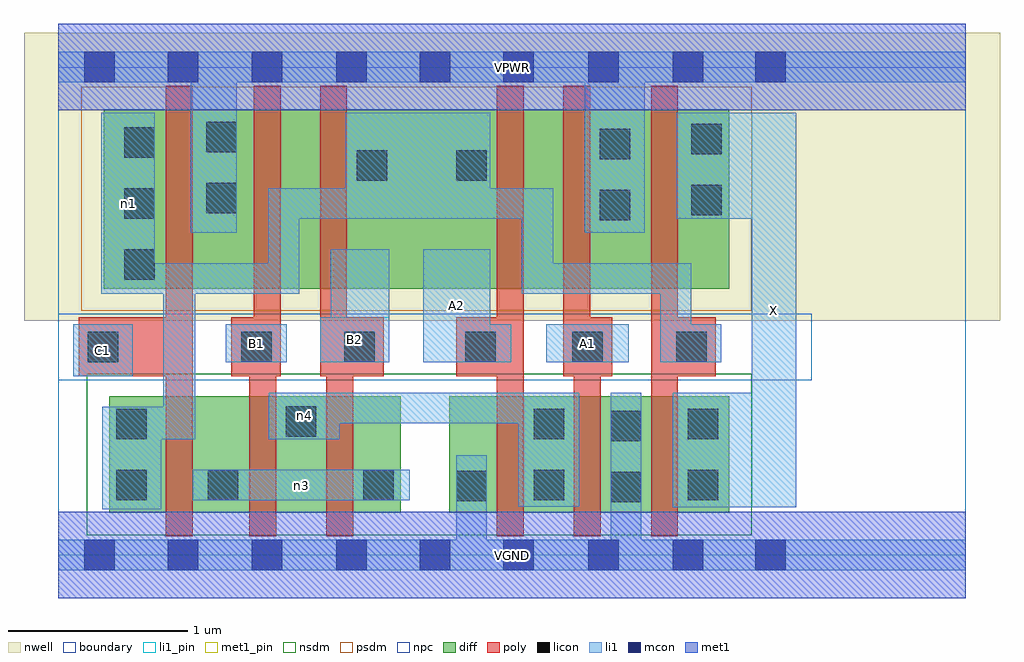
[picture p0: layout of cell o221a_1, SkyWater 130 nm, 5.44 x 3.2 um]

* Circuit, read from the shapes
.subckt o221a_1 A1 A2 B1 B2 C1 VGND VPWR X n1 n3 n4
XM1 n3 C1 n1 VSUBS sky130_fd_pr__nfet_01v8 w=0.65 l=0.15
XM2 n4 B1 n3 VSUBS sky130_fd_pr__nfet_01v8 w=0.65 l=0.15
XM3 n3 B2 n4 VSUBS sky130_fd_pr__nfet_01v8 w=0.65 l=0.15
XM4 n4 A2 VGND VSUBS sky130_fd_pr__nfet_01v8 w=0.65 l=0.15
XM5 VGND A1 n4 VSUBS sky130_fd_pr__nfet_01v8 w=0.65 l=0.15
XM6 X n1 VGND VSUBS sky130_fd_pr__nfet_01v8 w=0.65 l=0.15
XM7 VPWR C1 n1 n2 sky130_fd_pr__pfet_01v8 w=1 l=0.15
XM8 n5 B1 VPWR n2 sky130_fd_pr__pfet_01v8 w=1 l=0.15
XM9 n1 B2 n5 n2 sky130_fd_pr__pfet_01v8 w=1 l=0.15
XM10 n6 A2 n1 n2 sky130_fd_pr__pfet_01v8 w=1 l=0.15
XM11 VPWR A1 n6 n2 sky130_fd_pr__pfet_01v8 w=1 l=0.15
XM12 X n1 VPWR n2 sky130_fd_pr__pfet_01v8 w=1 l=0.15
.ends

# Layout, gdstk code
import gdstk
lib = gdstk.Library(unit=1e-6, precision=1e-09)
def R(c, l, rs):  # rectangles x0, y0, x1, y1
    for r in rs: c.add(gdstk.rectangle(r[:2], r[2:], *l))
def A(c, l, x, y, w, h, nx, ny, dx, dy):  # array of equal rectangles
    R(c, l, [(x+i*dx, y+j*dy, x+i*dx+w, y+j*dy+h) for i in range(nx) for j in range(ny)])
nwell = (64, 20)
diff = (65, 20)
poly = (66, 20)
licon = (66, 44)
li1_pin = (67, 16)
li1 = (67, 20)
mcon = (67, 44)
met1_pin = (68, 16)
met1 = (68, 20)
nsdm = (93, 44)
psdm = (94, 20)
npc = (95, 20)
boundary = (235, 4)

o221a_1 = lib.new_cell('o221a_1')
R(o221a_1, nwell, [(-0.19,1.305,5.25,2.91), (0,1.305,5.06,2.91)])
R(o221a_1, diff, [(0.285,0.235,1.91,0.885), (2.18,0.235,3.74,0.885), (0.255,1.485,3.74,2.485)])
R(o221a_1, poly, [(0.6,0.105,0.75,2.615), (1.065,0.105,1.215,1.325), (1.495,0.105,1.645,1.325), (2.445,0.105,2.595,2.615), (2.875,0.105,3.025,1.325), (3.305,0.105,3.455,2.615), (0.115,0.995,0.75,1.325), (0.965,0.995,1.24,1.325), (1.09,0.995,1.24,2.615), (1.46,0.995,1.61,2.615), (1.46,0.995,1.815,1.325), (2.22,0.995,2.595,1.325), (2.815,0.995,3.09,1.325), (2.815,0.995,2.965,2.615), (3.305,0.995,3.665,1.325)])
A(o221a_1, licon, 0.37, 1.535, 0.17, 0.17, 1, 3, 0, 0.34)
R(o221a_1, licon, [(3.08,0.295,3.25,0.465), (2.22,0.3,2.39,0.47), (0.325,0.305,0.495,0.475), (0.835,0.305,1.005,0.475), (1.7,0.305,1.87,0.475), (2.65,0.305,2.82,0.475), (3.51,0.305,3.68,0.475), (3.08,0.635,3.25,0.805), (0.325,0.645,0.495,0.815), (2.65,0.645,2.82,0.815), (3.51,0.645,3.68,0.815), (1.27,0.66,1.44,0.83), (0.165,1.075,0.335,1.245), (1.02,1.075,1.19,1.245), (1.595,1.075,1.765,1.245), (2.27,1.075,2.44,1.245), (2.865,1.075,3.035,1.245), (3.445,1.075,3.615,1.245), (3.02,1.865,3.19,2.035), (3.53,1.895,3.7,2.065), (0.825,1.905,0.995,2.075), (1.665,2.085,1.835,2.255), (2.22,2.085,2.39,2.255), (3.02,2.205,3.19,2.375), (3.53,2.235,3.7,2.405), (0.825,2.245,0.995,2.415)])
R(o221a_1, li1_pin, [(3.865,0.265,4.115,2.465), (0.085,0.995,0.415,1.285), (0.935,1.075,1.275,1.285), (1.46,1.075,1.845,1.325), (2.035,1.075,2.41,1.705), (2.72,1.075,3.18,1.285)])
R(o221a_1, li1, [(0,-0.085,5.06,0.085), (2.22,-0.085,2.39,0.555), (3.08,-0.085,3.25,0.905), (0.245,0.255,0.575,0.825), (3.425,0.265,4.115,0.905), (3.865,0.265,4.115,2.465), (2.565,0.27,2.905,0.905), (0.75,0.305,1.96,0.475), (0.245,0.645,0.765,0.825), (0.585,0.645,0.765,1.625), (1.175,0.645,1.57,0.905), (1.175,0.735,2.905,0.905), (0.085,0.995,0.415,1.285), (0.935,1.075,1.275,1.285), (1.46,1.075,1.845,1.325), (1.52,1.075,1.845,1.705), (2.035,1.075,2.41,1.705), (2.035,1.075,2.525,1.285), (2.72,1.075,3.18,1.285), (3.355,1.075,3.695,1.285), (3.355,1.075,3.53,1.625), (0.24,1.455,0.54,2.465), (0.24,1.455,1.345,1.625), (1.17,1.455,1.345,2.045), (2.585,1.455,2.76,2.045), (2.585,1.455,3.53,1.625), (0.74,1.795,0.995,2.805), (2.935,1.795,3.27,2.805), (1.17,1.875,2.76,2.045), (1.6,1.875,2.41,2.465), (3.445,1.875,4.115,2.465), (0,2.635,5.06,2.805)])
A(o221a_1, mcon, 0.61, -0.085, 0.17, 0.17, 3, 2, 0.47, 2.72)
R(o221a_1, mcon, [(0.145,-0.085,0.315,0.085), (2.015,-0.085,2.185,0.085), (2.48,-0.085,2.65,0.085), (2.955,-0.085,3.125,0.085), (3.425,-0.085,3.595,0.085), (3.885,-0.085,4.055,0.085), (0.145,2.635,0.315,2.805), (2.015,2.635,2.185,2.805), (2.48,2.635,2.65,2.805), (2.955,2.635,3.125,2.805), (3.425,2.635,3.595,2.805), (3.885,2.635,4.055,2.805)])
R(o221a_1, met1_pin, [(0,-0.24,5.06,0.24), (0,2.48,5.06,2.96)])
R(o221a_1, met1, [(0,-0.24,5.06,0.24), (0,2.48,5.06,2.96)])
R(o221a_1, nsdm, [(0.16,0.11,3.865,1.01)])
R(o221a_1, psdm, [(0.13,1.36,3.865,2.61)])
R(o221a_1, npc, [(0,0.975,4.2,1.345)])
R(o221a_1, boundary, [(0,0,5.06,2.72)])
o221a_1.add(gdstk.Label('A1', (2.95,1.18), layer=67, texttype=5))
o221a_1.add(gdstk.Label('A2', (2.222,1.39), layer=67, texttype=5))
o221a_1.add(gdstk.Label('B1', (1.105,1.18), layer=67, texttype=5))
o221a_1.add(gdstk.Label('B2', (1.652,1.2), layer=67, texttype=5))
o221a_1.add(gdstk.Label('C1', (0.25,1.14), layer=67, texttype=5))
o221a_1.add(gdstk.Label('X', (3.99,1.365), layer=67, texttype=5))
o221a_1.add(gdstk.Label('n3', (1.355,0.39), layer=67, texttype=5))
o221a_1.add(gdstk.Label('n4', (1.372,0.775), layer=67, texttype=5))
o221a_1.add(gdstk.Label('n1', (0.39,1.96), layer=67, texttype=5))
o221a_1.add(gdstk.Label('VPWR', (2.53,2.72), layer=68, texttype=5))
o221a_1.add(gdstk.Label('VGND', (2.53,0), layer=68, texttype=5))
o221a_1.add(gdstk.Label('A1', (2.95,1.18), layer=67, texttype=16))
o221a_1.add(gdstk.Label('A2', (2.222,1.39), layer=67, texttype=16))
o221a_1.add(gdstk.Label('B1', (1.105,1.18), layer=67, texttype=16))
o221a_1.add(gdstk.Label('B2', (1.652,1.2), layer=67, texttype=16))
o221a_1.add(gdstk.Label('C1', (0.25,1.14), layer=67, texttype=16))
o221a_1.add(gdstk.Label('X', (3.99,1.365), layer=67, texttype=16))
o221a_1.add(gdstk.Label('VPWR', (2.53,2.72), layer=68, texttype=16))
o221a_1.add(gdstk.Label('VGND', (2.53,0), layer=68, texttype=16))

lib.write_gds('o221a_1.gds')
